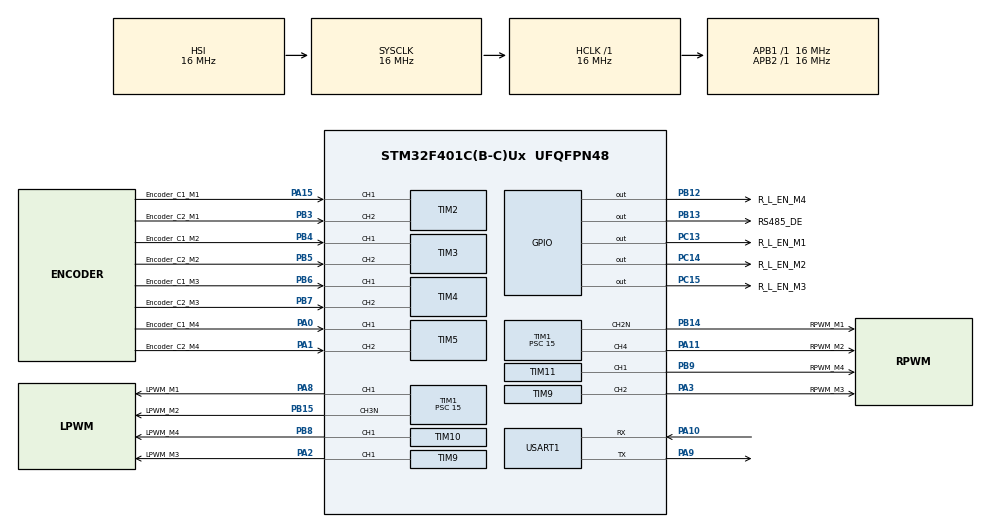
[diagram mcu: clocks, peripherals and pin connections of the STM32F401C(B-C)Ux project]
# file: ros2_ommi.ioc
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Mcu.Family=STM32F4
Mcu.Name=STM32F401C(B-C)Ux
Mcu.Package=UFQFPN48
NVIC.PriorityGroup=NVIC_PRIORITYGROUP_4
NVIC.USART1_IRQn=true\:0\:0\:false\:false\:true\:true\:true\:true
PA0-WKUP.GPIO_Label=Encoder_C1_M4
PA0-WKUP.Signal=S_TIM5_CH1
PA1.GPIO_Label=Encoder_C2_M4
PA1.Signal=S_TIM5_CH2
PA10.Mode=Asynchronous
PA10.Signal=USART1_RX
PA11.GPIO_Label=RPWM_M2
PA11.Signal=S_TIM1_CH4
PA13.Mode=Serial_Wire
PA13.Signal=SYS_JTMS-SWDIO
PA14.Mode=Serial_Wire
PA14.Signal=SYS_JTCK-SWCLK
PA15.GPIO_Label=Encoder_C1_M1
PA15.Signal=S_TIM2_CH1_ETR
PA2.GPIO_Label=LPWM_M3
PA2.Signal=S_TIM9_CH1
PA3.GPIO_Label=RPWM_M3
PA3.Signal=S_TIM9_CH2
PA8.GPIO_Label=LPWM_M1
PA8.Signal=S_TIM1_CH1
PA9.Mode=Asynchronous
PA9.Signal=USART1_TX
PB12.GPIO_Label=R_L_EN_M4
PB12.Signal=GPIO_Output
PB13.GPIO_Label=RS485_DE
PB13.Signal=GPIO_Output
PB14.GPIO_Label=RPWM_M1
PB14.Mode=PWM Generation2 CH2N
PB14.Signal=TIM1_CH2N
PB15.GPIO_Label=LPWM_M2
PB15.Mode=PWM Generation3 CH3N
PB15.Signal=TIM1_CH3N
PB3.GPIO_Label=Encoder_C2_M1
PB3.Signal=S_TIM2_CH2
PB4.GPIO_Label=Encoder_C1_M2
PB4.Signal=S_TIM3_CH1
PB5.GPIO_Label=Encoder_C2_M2
PB5.Signal=S_TIM3_CH2
PB6.GPIO_Label=Encoder_C1_M3
PB6.Signal=S_TIM4_CH1
PB7.GPIO_Label=Encoder_C2_M3
PB7.Signal=S_TIM4_CH2
PB8.GPIO_Label=LPWM_M4
PB8.Signal=S_TIM10_CH1
PB9.GPIO_Label=RPWM_M4
PB9.Signal=S_TIM11_CH1
PC13-ANTI_TAMP.GPIO_Label=R_L_EN_M1
PC13-ANTI_TAMP.Signal=GPIO_Output
PC14-OSC32_IN.GPIO_Label=R_L_EN_M2
PC14-OSC32_IN.Signal=GPIO_Output
PC15-OSC32_OUT.GPIO_Label=R_L_EN_M3
PC15-OSC32_OUT.Signal=GPIO_Output
PH0\ -\ OSC_IN.Mode=HSE-External-Oscillator
PH0\ -\ OSC_IN.Signal=RCC_OSC_IN
PH1\ -\ OSC_OUT.Mode=HSE-External-Oscillator
PH1\ -\ OSC_OUT.Signal=RCC_OSC_OUT
ProjectManager.HeapSize=0x200
ProjectManager.StackSize=0x400
ProjectManager.TargetToolchain=STM32CubeIDE
RCC.AHBFreq_Value=16000000
RCC.APB1Freq_Value=16000000
RCC.APB2Freq_Value=16000000
RCC.CortexFreq_Value=16000000
RCC.HSE_VALUE=25000000
RCC.HSI_VALUE=16000000
RCC.LSE_VALUE=32768
RCC.SYSCLKFreq_VALUE=16000000
RCC.VCOOutputFreq_Value=192000000
SH.S_TIM10_CH1.0=TIM10_CH1,PWM Generation1 CH1
SH.S_TIM11_CH1.0=TIM11_CH1,PWM Generation1 CH1
SH.S_TIM1_CH1.0=TIM1_CH1,PWM Generation1 CH1
SH.S_TIM1_CH4.0=TIM1_CH4,PWM Generation4 CH4
SH.S_TIM2_CH1_ETR.0=TIM2_CH1,Encoder_Interface
SH.S_TIM2_CH2.0=TIM2_CH2,Encoder_Interface
SH.S_TIM3_CH1.0=TIM3_CH1,Encoder_Interface
SH.S_TIM3_CH2.0=TIM3_CH2,Encoder_Interface
SH.S_TIM4_CH1.0=TIM4_CH1,Encoder_Interface
SH.S_TIM4_CH2.0=TIM4_CH2,Encoder_Interface
SH.S_TIM5_CH1.0=TIM5_CH1,Encoder_Interface
SH.S_TIM5_CH2.0=TIM5_CH2,Encoder_Interface
SH.S_TIM9_CH1.0=TIM9_CH1,PWM Generation1 CH1
SH.S_TIM9_CH2.0=TIM9_CH2,PWM Generation2 CH2
TIM1.Channel-PWM\ Generation1\ CH1=TIM_CHANNEL_1
TIM1.Channel-PWM\ Generation2\ CH2N=TIM_CHANNEL_2
TIM1.Channel-PWM\ Generation3\ CH3N=TIM_CHANNEL_3
TIM1.Channel-PWM\ Generation4\ CH4=TIM_CHANNEL_4
TIM1.Period=999
TIM1.Prescaler=15
TIM10.Channel=TIM_CHANNEL_1
TIM10.ClockDivision=TIM_CLOCKDIVISION_DIV1
TIM10.Period=999
TIM10.Prescaler=15
TIM11.Channel=TIM_CHANNEL_1
TIM11.ClockDivision=TIM_CLOCKDIVISION_DIV1
TIM11.Period=999
TIM11.Prescaler=15
TIM2.EncoderMode=TIM_ENCODERMODE_TI12
TIM3.EncoderMode=TIM_ENCODERMODE_TI12
TIM4.EncoderMode=TIM_ENCODERMODE_TI12
TIM5.EncoderMode=TIM_ENCODERMODE_TI12
TIM9.Channel-PWM\ Generation1\ CH1=TIM_CHANNEL_1
TIM9.Channel-PWM\ Generation2\ CH2=TIM_CHANNEL_2
TIM9.ClockDivision=TIM_CLOCKDIVISION_DIV1
TIM9.Period=999
TIM9.Prescaler=15
USART1.VirtualMode=VM_ASYNC
VP_TIM10_VS_ClockSourceINT.Mode=Enable_Timer
VP_TIM11_VS_ClockSourceINT.Mode=Enable_Timer
VP_TIM1_VS_ClockSourceINT.Mode=Internal
board=custom

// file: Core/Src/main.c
/* USER CODE BEGIN Header */
/**
  ******************************************************************************
  * @file           : main.c
  * @brief          : Smooth PID Speed Control 4 Motors
  *                   STM32F401CCU6 + BTS7960 + Encoder
  *                   Individual wheel target speed
  ******************************************************************************
  */
/* USER CODE END Header */
#include "main.h"
#include "tim.h"
#include "usart.h"
#include "gpio.h"

/* USER CODE BEGIN Includes */
#include <stdint.h>
#include <string.h>
#include <stdlib.h>

/* USER CODE END Includes */

/* USER CODE BEGIN PTD */

typedef struct
{
  float kp;
  float ki;
  float kd;

  float integral;
  float prev_error;
  float output;

} PID_t;

typedef struct
{
  const char *name;

  TIM_HandleTypeDef *lpwm_htim;
  uint32_t lpwm_channel;

  TIM_HandleTypeDef *rpwm_htim;
  uint32_t rpwm_channel;

  GPIO_TypeDef *en_port;
  uint16_t en_pin;

  TIM_HandleTypeDef *encoder_htim;

  int motor_sign;
  int encoder_sign;

  int current_pwm;
  int min_pwm_run;

  uint32_t encoder_last_count;
  int32_t encoder_delta;
  int64_t encoder_total_count;

  float speed_mps;
  float speed_raw_mps;
  float target_speed_mps;
  float command_speed_mps;

  PID_t pid;

} Motor_t;

/* USER CODE END PTD */

/* USER CODE BEGIN PD */

#define MOTOR_COUNT                 4

#define MOTOR_NORMAL                1
#define MOTOR_INVERT               -1

#define ENCODER_NORMAL              1
#define ENCODER_INVERT             -1

#define PWM_MAX_VALUE               999

/*
  PWM tối thiểu để thắng ma sát tĩnh.
  Nếu motor vẫn bị ì, tăng lên 220 hoặc 250.
*/
#define PWM_MIN_RUN_DEFAULT         60
#define PWM_MIN_RUN_M2              60

#define CONTROL_PERIOD_MS           10
#define CONTROL_PERIOD_S            ((float)CONTROL_PERIOD_MS / 1000.0f)

/*
  Ramp tốc độ.
  Giá trị càng nhỏ motor càng mượt nhưng tăng tốc chậm.
  1.5 m/s^2 nghĩa là từ 0 lên 0.5 m/s mất khoảng 0.33s.
*/
#define TARGET_ACCEL_LIMIT_MPS2     1.5f

#define TARGET_ACCEL_LIMIT_MPS2     0.4f
#define TARGET_RAMP_STEP_MPS \
  (TARGET_ACCEL_LIMIT_MPS2 * CONTROL_PERIOD_S)

/*
  Lọc tốc độ encoder.
  0.25 - 0.40 là vùng ổn.
  Nhỏ hơn = mượt hơn nhưng phản hồi chậm hơn.
*/
#define SPEED_FILTER_ALPHA          0.30f

/*
  Thông số bánh + encoder.
  Nếu motor của bạn là hộp số 1:90 thì đổi GEAR_RATIO thành 90.0f.
*/
#define WHEEL_DIAMETER_M            0.097f
#define PI_VALUE                    3.1415926f
#define WHEEL_CIRCUMFERENCE_M       (PI_VALUE * WHEEL_DIAMETER_M)

#define ENCODER_PPR                 11.0f
#define GEAR_RATIO                  30.0f
#define ENCODER_MULTIPLIER          4.0f

#define ENCODER_COUNT_PER_REV       (ENCODER_PPR * GEAR_RATIO * ENCODER_MULTIPLIER)
#define METER_PER_COUNT             (WHEEL_CIRCUMFERENCE_M / ENCODER_COUNT_PER_REV)

/*
  PID bản mượt hơn.
  Bản cũ 120/60 dễ làm motor giật hoặc dao động.
*/
#define PID_KP                      50.0f
#define PID_KI                      10.0f
#define PID_KD                      0.0f

#define PID_INTEGRAL_LIMIT          2.0f
#define PID_OUTPUT_LIMIT            250.0f
/*
  Feedforward.
  Nếu motor lên tốc độ quá chậm, tăng PWM_PER_MPS lên 360.
  Nếu motor quá mạnh/giật, giảm xuống 300.
*/
#define PWM_PER_MPS                 330.0f

#define TARGET_DEADBAND_MPS         0.02f
#define TARGET_SPEED_LIMIT_MPS      2.0f

#define UART_HEADER_1               0xAA
#define UART_HEADER_2               0x55
#define UART_FRAME_SIZE             11   //kích thước frame

#define UART_HEADER_1                  0xAA
#define UART_HEADER_2                  0x55
#define UART_FRAME_SIZE                11

#define UART_FEEDBACK_HEADER_1         0xAB
#define UART_FEEDBACK_HEADER_2         0xCD
#define UART_FEEDBACK_FRAME_SIZE       11
#define UART_TX_TIMEOUT_MS             5

#define UART_WATCHDOG_TIMEOUT_MS       500
volatile uint8_t uart_feedback_pending = 0;

volatile int debug_uart_tx_ok = 0;
volatile int debug_uart_tx_fail = 0;
/*
  ROS2 gửi frame mỗi 20 ms.
  Nếu mất lệnh quá 500 ms thì dừng motor.
*/
#define UART_WATCHDOG_TIMEOUT_MS    500

/* USER CODE END PD */

/* USER CODE BEGIN PV */

/*
  Mapping motor hiện tại:

  Motor 1 = Front Left = bánh trước trái
    LPWM    PA8  -> TIM1_CH1
    RPWM    PB14 -> TIM1_CH2N
    EN      PC13
    Encoder TIM2

  Motor 2 = Front Right = bánh trước phải
    LPWM    PB15 -> TIM1_CH3N
    RPWM    PA11 -> TIM1_CH4
    EN      PC14
    Encoder TIM3

  Motor 3 = Rear Left = bánh sau trái
    LPWM    PA2 -> TIM9_CH1
    RPWM    PA3 -> TIM9_CH2
    EN      PC15
    Encoder TIM4

  Motor 4 = Rear Right = bánh sau phải
    LPWM    PB8 -> TIM10_CH1
    RPWM    PB9 -> TIM11_CH1
    EN      PB12
    Encoder TIM5

  USART1:
    TX = PA9
    RX = PA10

  RS485:
    DE/RE = PB13
*/

/* ===== DEBUG VARIABLES - thêm vào Live Expressions ===== */

volatile int debug_pwm_m1 = 0;
volatile int debug_pwm_m2 = 0;
volatile int debug_pwm_m3 = 0;
volatile int debug_pwm_m4 = 0;

volatile int32_t debug_delta_m1 = 0;
volatile int32_t debug_delta_m2 = 0;
volatile int32_t debug_delta_m3 = 0;
volatile int32_t debug_delta_m4 = 0;

volatile int64_t debug_total_m1 = 0;
volatile int64_t debug_total_m2 = 0;
volatile int64_t debug_total_m3 = 0;
volatile int64_t debug_total_m4 = 0;

volatile float debug_speed_m1 = 0.0f;
volatile float debug_speed_m2 = 0.0f;
volatile float debug_speed_m3 = 0.0f;
volatile float debug_speed_m4 = 0.0f;

volatile float debug_raw_speed_m1 = 0.0f;
volatile float debug_raw_speed_m2 = 0.0f;
volatile float debug_raw_speed_m3 = 0.0f;
volatile float debug_raw_speed_m4 = 0.0f;

volatile float debug_target_m1 = 0.0f;
volatile float debug_target_m2 = 0.0f;
volatile float debug_target_m3 = 0.0f;
volatile float debug_target_m4 = 0.0f;

volatile float debug_cmd_m1 = 0.0f;
volatile float debug_cmd_m2 = 0.0f;
volatile float debug_cmd_m3 = 0.0f;
volatile float debug_cmd_m4 = 0.0f;

volatile float debug_error_m1 = 0.0f;
volatile float debug_error_m2 = 0.0f;
volatile float debug_error_m3 = 0.0f;
volatile float debug_error_m4 = 0.0f;

volatile float debug_pid_m1 = 0.0f;
volatile float debug_pid_m2 = 0.0f;
volatile float debug_pid_m3 = 0.0f;
volatile float debug_pid_m4 = 0.0f;

volatile int debug_test_state = 0;

/* ===== MOTOR OBJECTS ===== */

Motor_t motors[MOTOR_COUNT] =
{
  {
    "M1_FRONT_LEFT",
    &htim1, TIM_CHANNEL_1,
    &htim1, TIM_CHANNEL_2,
    GPIOC, GPIO_PIN_13,
    &htim2,
    MOTOR_NORMAL,
	ENCODER_NORMAL,
    0,
    PWM_MIN_RUN_DEFAULT,
    0, 0, 0,
    0.0f,
    0.0f,
    0.0f,
    0.0f,
    {PID_KP, PID_KI, PID_KD, 0.0f, 0.0f, 0.0f}
  },

  {
    "M2_FRONT_RIGHT",
    &htim1, TIM_CHANNEL_3,
    &htim1, TIM_CHANNEL_4,
    GPIOC, GPIO_PIN_14,
    &htim3,
	MOTOR_INVERT,
	ENCODER_INVERT,
    0,
    PWM_MIN_RUN_M2,
    0, 0, 0,
    0.0f,
    0.0f,
    0.0f,
    0.0f,
    {PID_KP, PID_KI, PID_KD, 0.0f, 0.0f, 0.0f}
  },

  {
    "M3_REAR_LEFT",
    &htim9, TIM_CHANNEL_1,
    &htim9, TIM_CHANNEL_2,
    GPIOC, GPIO_PIN_15,
    &htim4,
	MOTOR_NORMAL,
	ENCODER_NORMAL,
    0,
    PWM_MIN_RUN_DEFAULT,
    0, 0, 0,
    0.0f,
    0.0f,
    0.0f,
    0.0f,
    {PID_KP, PID_KI, PID_KD, 0.0f, 0.0f, 0.0f}
  },

  {
    "M4_REAR_RIGHT",
    &htim10, TIM_CHANNEL_1,
    &htim11, TIM_CHANNEL_1,
    GPIOB, GPIO_PIN_12,
    &htim5,
	MOTOR_INVERT,
	ENCODER_INVERT,
    0,
    PWM_MIN_RUN_DEFAULT,
    0, 0, 0,
    0.0f,
    0.0f,
    0.0f,
    0.0f,
    {PID_KP, PID_KI, PID_KD, 0.0f, 0.0f, 0.0f}
  }
};

uint32_t last_control_time = 0;
uint32_t last_motion_time = 0;
uint8_t motion_state = 0;
/* ===== UART / RS485 AUTO-DIRECTION MODULE ===== */

/* ===== UART BINARY FRAME ===== */

uint8_t uart_rx_byte = 0;

uint8_t uart_rx_frame[UART_FRAME_SIZE];
volatile uint8_t uart_rx_index = 0;
volatile uint8_t uart_frame_ready = 0;

volatile uint32_t last_uart_cmd_time = 0;

volatile float uart_target_m1 = 0.0f;
volatile float uart_target_m2 = 0.0f;
volatile float uart_target_m3 = 0.0f;
volatile float uart_target_m4 = 0.0f;

volatile int debug_uart_rx_count = 0;
volatile int debug_uart_parse_ok = 0;
volatile int debug_uart_parse_fail = 0;
volatile int debug_uart_crc_fail = 0;
volatile int debug_uart_error_count = 0;
volatile int debug_uart_watchdog = 0;

/* USER CODE END PV */

void SystemClock_Config(void);
/* USER CODE BEGIN PFP */

/* Helper */
static float ClampFloat(float value, float min_value, float max_value);
static int ClampInt(int value, int min_value, int max_value);
static float RampFloat(float current, float target, float step);

/* Motor PWM */
void Motor_Enable(Motor_t *motor);
void Motor_Disable(Motor_t *motor);
static void Motor_PWM_ChannelStart(TIM_HandleTypeDef *htim, uint32_t channel);
void Motor_PWM_Start(Motor_t *motor);
void Motor_SetPWM(Motor_t *motor, int pwm);
void Motor_Stop(Motor_t *motor);

void Motors_PWM_InitAll(void);
void Motors_StopAll(void);

/* Encoder */
void Encoder_Reset(Motor_t *motor);
void Encoders_InitAll(void);
int32_t Encoder_ReadDelta(Motor_t *motor);
float Encoder_DeltaToMPS(int32_t delta);
void Encoders_UpdateAll(void);

/* PID */
void PID_Reset(PID_t *pid);
float PID_Update(PID_t *pid, float target, float feedback, float dt);
void Motor_SetTargetSpeed(Motor_t *motor, float target_speed_mps);
void Motors_SetTargetSpeedAll(float target_speed_mps);
void Motors_SetTargetSpeeds(float m1, float m2, float m3, float m4);
void Motors_ControlUpdateAll(void);

/* Debug */
void Debug_UpdateVariables(void);

/* Motion test */
void Motion_Speed_TestTask(void);

/* App */
void App_Init(void);
void App_Task(void);

/* UART / RS485 */
void UART_StartReceive_IT(void);
void UART_ProcessCommand(void);
void UART_WatchdogTask(void);

static uint8_t UART_CalculateCRC(
  const uint8_t *data,
  uint8_t length
);
/* USER CODE END PFP */

/* USER CODE BEGIN 0 */

static float ClampFloat(float value, float min_value, float max_value)
{
  if (value > max_value)
  {
    return max_value;
  }

  if (value < min_value)
  {
    return min_value;
  }

  return value;
}

static int ClampInt(int value, int min_value, int max_value)
{
  if (value > max_value)
  {
    return max_value;
  }

  if (value < min_value)
  {
    return min_value;
  }

  return value;
}

static float RampFloat(float current, float target, float step)
{
  if (current < target)
  {
    current += step;

    if (current > target)
    {
      current = target;
    }
  }
  else if (current > target)
  {
    current -= step;

    if (current < target)
    {
      current = target;
    }
  }

  return current;
}

/* =========================
   MOTOR PWM FUNCTIONS
   ========================= */

void Motor_Enable(Motor_t *motor)
{
  HAL_GPIO_WritePin(motor->en_port, motor->en_pin, GPIO_PIN_SET);
}

void Motor_Disable(Motor_t *motor)
{
  HAL_GPIO_WritePin(motor->en_port, motor->en_pin, GPIO_PIN_RESET);
}

static void Motor_PWM_ChannelStart(TIM_HandleTypeDef *htim, uint32_t channel)
{
  /*
    PB14 = TIM1_CH2N
    PB15 = TIM1_CH3N

    Hai kênh N của TIM1 phải start bằng HAL_TIMEx_PWMN_Start().
  */
  if (htim->Instance == TIM1 &&
      (channel == TIM_CHANNEL_2 || channel == TIM_CHANNEL_3))
  {
    HAL_TIMEx_PWMN_Start(htim, channel);
  }
  else
  {
    HAL_TIM_PWM_Start(htim, channel);
  }
}

void Motor_PWM_Start(Motor_t *motor)
{
  Motor_PWM_ChannelStart(motor->lpwm_htim, motor->lpwm_channel);
  Motor_PWM_ChannelStart(motor->rpwm_htim, motor->rpwm_channel);

  Motor_Enable(motor);
  Motor_Stop(motor);
}

void Motor_SetPWM(Motor_t *motor, int pwm)
{
  uint32_t lpwm_max = __HAL_TIM_GET_AUTORELOAD(motor->lpwm_htim);
  uint32_t rpwm_max = __HAL_TIM_GET_AUTORELOAD(motor->rpwm_htim);

  uint32_t pwm_max = lpwm_max;

  if (rpwm_max < pwm_max)
  {
    pwm_max = rpwm_max;
  }

  if (pwm_max > PWM_MAX_VALUE)
  {
    pwm_max = PWM_MAX_VALUE;
  }

  pwm = pwm * motor->motor_sign;
  pwm = ClampInt(pwm, -(int)pwm_max, (int)pwm_max);

  Motor_Enable(motor);

  motor->current_pwm = pwm;

  if (pwm > 0)
  {
    __HAL_TIM_SET_COMPARE(motor->lpwm_htim, motor->lpwm_channel, (uint32_t)pwm);
    __HAL_TIM_SET_COMPARE(motor->rpwm_htim, motor->rpwm_channel, 0);
  }
  else if (pwm < 0)
  {
    __HAL_TIM_SET_COMPARE(motor->lpwm_htim, motor->lpwm_channel, 0);
    __HAL_TIM_SET_COMPARE(motor->rpwm_htim, motor->rpwm_channel, (uint32_t)(-pwm));
  }
  else
  {
    __HAL_TIM_SET_COMPARE(motor->lpwm_htim, motor->lpwm_channel, 0);
    __HAL_TIM_SET_COMPARE(motor->rpwm_htim, motor->rpwm_channel, 0);
    motor->current_pwm = 0;
  }
}

void Motor_Stop(Motor_t *motor)
{
  __HAL_TIM_SET_COMPARE(motor->lpwm_htim, motor->lpwm_channel, 0);
  __HAL_TIM_SET_COMPARE(motor->rpwm_htim, motor->rpwm_channel, 0);

  motor->current_pwm = 0;

  /*
    Stop thả trôi:
    LPWM = 0, RPWM = 0, EN = 0.
  */
  Motor_Disable(motor);
}

void Motors_PWM_InitAll(void)
{
  for (int i = 0; i < MOTOR_COUNT; i++)
  {
    Motor_PWM_Start(&motors[i]);
  }

  Motors_StopAll();
}

void Motors_StopAll(void)
{
  Motors_SetTargetSpeedAll(0.0f);

  for (int i = 0; i < MOTOR_COUNT; i++)
  {
    motors[i].command_speed_mps = 0.0f;
    PID_Reset(&motors[i].pid);
    Motor_Stop(&motors[i]);
  }
}

/* =========================
   ENCODER FUNCTIONS
   ========================= */

void Encoder_Reset(Motor_t *motor)
{
  __HAL_TIM_SET_COUNTER(motor->encoder_htim, 0);

  motor->encoder_last_count = 0;
  motor->encoder_delta = 0;
  motor->encoder_total_count = 0;
  motor->speed_raw_mps = 0.0f;
  motor->speed_mps = 0.0f;
}

void Encoders_InitAll(void)
{
  for (int i = 0; i < MOTOR_COUNT; i++)
  {
    HAL_TIM_Encoder_Start(motors[i].encoder_htim, TIM_CHANNEL_ALL);
    Encoder_Reset(&motors[i]);
  }
}

int32_t Encoder_ReadDelta(Motor_t *motor)
{
  uint32_t now_count = __HAL_TIM_GET_COUNTER(motor->encoder_htim);
  uint32_t arr = __HAL_TIM_GET_AUTORELOAD(motor->encoder_htim);

  int64_t delta = (int64_t)now_count - (int64_t)motor->encoder_last_count;
  uint64_t period = (uint64_t)arr + 1ULL;

  if (delta > (int64_t)(period / 2ULL))
  {
    delta -= (int64_t)period;
  }
  else if (delta < -(int64_t)(period / 2ULL))
  {
    delta += (int64_t)period;
  }

  delta = delta * motor->encoder_sign;

  motor->encoder_last_count = now_count;
  motor->encoder_delta = (int32_t)delta;
  motor->encoder_total_count += delta;

  return motor->encoder_delta;
}

float Encoder_DeltaToMPS(int32_t delta)
{
  float distance_m = (float)delta * METER_PER_COUNT;
  float speed_mps = distance_m / CONTROL_PERIOD_S;

  return speed_mps;
}

void Encoders_UpdateAll(void)
{
  for (int i = 0; i < MOTOR_COUNT; i++)
  {
    int32_t delta = Encoder_ReadDelta(&motors[i]);

    motors[i].speed_raw_mps = Encoder_DeltaToMPS(delta);

    /*
      Low-pass filter:
      speed_mps = speed_mps cũ + alpha * sai lệch
    */
    motors[i].speed_mps = motors[i].speed_mps +
                          SPEED_FILTER_ALPHA *
                          (motors[i].speed_raw_mps - motors[i].speed_mps);
  }
}

/*
  Binary frame 11 bytes:

  [0xAA][0x55]
  [v1_L][v1_H]
  [v2_L][v2_H]
  [v3_L][v3_H]
  [v4_L][v4_H]
  [CRC]

  v1...v4:
  int16_t, đơn vị mm/s, little-endian

  CRC:
  XOR byte 0 đến byte 9
*/

/* =========================
   PID FUNCTIONS
   ========================= */

void PID_Reset(PID_t *pid)
{
  pid->integral = 0.0f;
  pid->prev_error = 0.0f;
  pid->output = 0.0f;
}

float PID_Update(PID_t *pid, float target, float feedback, float dt)
{
  float error = target - feedback;

  pid->integral += error * dt;
  pid->integral = ClampFloat(pid->integral, -PID_INTEGRAL_LIMIT, PID_INTEGRAL_LIMIT);

  float derivative = (error - pid->prev_error) / dt;

  pid->output = (pid->kp * error)
              + (pid->ki * pid->integral)
              + (pid->kd * derivative);

  pid->output = ClampFloat(pid->output, -PID_OUTPUT_LIMIT, PID_OUTPUT_LIMIT);

  pid->prev_error = error;

  return pid->output;
}

void Motor_SetTargetSpeed(Motor_t *motor, float target_speed_mps)
{
  target_speed_mps = ClampFloat(target_speed_mps,
                                -TARGET_SPEED_LIMIT_MPS,
                                TARGET_SPEED_LIMIT_MPS);

  /*
    Khi đổi chiều lớn thì reset PID để tránh tích phân cũ kéo ngược.
  */
  if ((motor->target_speed_mps > TARGET_DEADBAND_MPS &&
       target_speed_mps < -TARGET_DEADBAND_MPS) ||
      (motor->target_speed_mps < -TARGET_DEADBAND_MPS &&
       target_speed_mps > TARGET_DEADBAND_MPS))
  {
    PID_Reset(&motor->pid);
  }

  motor->target_speed_mps = target_speed_mps;
}

void Motors_SetTargetSpeedAll(float target_speed_mps)
{
  for (int i = 0; i < MOTOR_COUNT; i++)
  {
    Motor_SetTargetSpeed(&motors[i], target_speed_mps);
  }
}

void Motors_SetTargetSpeeds(float m1, float m2, float m3, float m4)
{
  Motor_SetTargetSpeed(&motors[0], m1);
  Motor_SetTargetSpeed(&motors[1], m2);
  Motor_SetTargetSpeed(&motors[2], m3);
  Motor_SetTargetSpeed(&motors[3], m4);

  debug_target_m1 = motors[0].target_speed_mps;
  debug_target_m2 = motors[1].target_speed_mps;
  debug_target_m3 = motors[2].target_speed_mps;
  debug_target_m4 = motors[3].target_speed_mps;
}

void Motors_ControlUpdateAll(void)
{
  Encoders_UpdateAll();

  for (int i = 0; i < MOTOR_COUNT; i++)
  {
    Motor_t *motor = &motors[i];

    /*
      Ramp command_speed_mps về target_speed_mps.
      PID sẽ bám command_speed_mps, không bám target nhảy đột ngột.
    */
    motor->command_speed_mps = RampFloat(motor->command_speed_mps,
                                         motor->target_speed_mps,
                                         TARGET_RAMP_STEP_MPS);

    if (motor->target_speed_mps < TARGET_DEADBAND_MPS &&
        motor->target_speed_mps > -TARGET_DEADBAND_MPS &&
        motor->command_speed_mps < TARGET_DEADBAND_MPS &&
        motor->command_speed_mps > -TARGET_DEADBAND_MPS)
    {
      motor->command_speed_mps = 0.0f;
      PID_Reset(&motor->pid);
      Motor_Stop(motor);
      continue;
    }

    float pid_output = PID_Update(&motor->pid,
                                  motor->command_speed_mps,
                                  motor->speed_mps,
                                  CONTROL_PERIOD_S);

    float pwm_float = (motor->command_speed_mps * PWM_PER_MPS) + pid_output;

    int pwm_cmd = (int)pwm_float;

    /*
      Bù ma sát tĩnh theo từng motor.
      Motor 2 đang bị delay nên min_pwm_run của M2 cao hơn.
    */
    if (motor->command_speed_mps > TARGET_DEADBAND_MPS)
    {
      if (pwm_cmd > 0 && pwm_cmd < motor->min_pwm_run)
      {
        pwm_cmd = motor->min_pwm_run;
      }
    }
    else if (motor->command_speed_mps < -TARGET_DEADBAND_MPS)
    {
      if (pwm_cmd < 0 && pwm_cmd > -motor->min_pwm_run)
      {
        pwm_cmd = -motor->min_pwm_run;
      }
    }

    pwm_cmd = ClampInt(pwm_cmd, -PWM_MAX_VALUE, PWM_MAX_VALUE);

    Motor_SetPWM(motor, pwm_cmd);
  }
}

/* =========================
   DEBUG FUNCTION
   ========================= */

void Debug_UpdateVariables(void)
{
  debug_pwm_m1 = motors[0].current_pwm;
  debug_pwm_m2 = motors[1].current_pwm;
  debug_pwm_m3 = motors[2].current_pwm;
  debug_pwm_m4 = motors[3].current_pwm;

  debug_delta_m1 = motors[0].encoder_delta;
  debug_delta_m2 = motors[1].encoder_delta;
  debug_delta_m3 = motors[2].encoder_delta;
  debug_delta_m4 = motors[3].encoder_delta;

  debug_total_m1 = motors[0].encoder_total_count;
  debug_total_m2 = motors[1].encoder_total_count;
  debug_total_m3 = motors[2].encoder_total_count;
  debug_total_m4 = motors[3].encoder_total_count;

  debug_raw_speed_m1 = motors[0].speed_raw_mps;
  debug_raw_speed_m2 = motors[1].speed_raw_mps;
  debug_raw_speed_m3 = motors[2].speed_raw_mps;
  debug_raw_speed_m4 = motors[3].speed_raw_mps;

  debug_speed_m1 = motors[0].speed_mps;
  debug_speed_m2 = motors[1].speed_mps;
  debug_speed_m3 = motors[2].speed_mps;
  debug_speed_m4 = motors[3].speed_mps;

  debug_target_m1 = motors[0].target_speed_mps;
  debug_target_m2 = motors[1].target_speed_mps;
  debug_target_m3 = motors[2].target_speed_mps;
  debug_target_m4 = motors[3].target_speed_mps;

  debug_cmd_m1 = motors[0].command_speed_mps;
  debug_cmd_m2 = motors[1].command_speed_mps;
  debug_cmd_m3 = motors[2].command_speed_mps;
  debug_cmd_m4 = motors[3].command_speed_mps;

  debug_error_m1 = motors[0].command_speed_mps - motors[0].speed_mps;
  debug_error_m2 = motors[1].command_speed_mps - motors[1].speed_mps;
  debug_error_m3 = motors[2].command_speed_mps - motors[2].speed_mps;
  debug_error_m4 = motors[3].command_speed_mps - motors[3].speed_mps;

  debug_pid_m1 = motors[0].pid.output;
  debug_pid_m2 = motors[1].pid.output;
  debug_pid_m3 = motors[2].pid.output;
  debug_pid_m4 = motors[3].pid.output;
}

/* =========================
   MOTION SPEED TEST TASK
   ========================= */

void Motion_Speed_TestTask(void)
{
  uint32_t now = HAL_GetTick();

  switch (motion_state)
  {
    case 0:
      debug_test_state = 1;
      Motors_SetTargetSpeeds(0.5f, 0.5f, 0.5f, 0.5f);

      if (now - last_motion_time >= 5000)
      {
        last_motion_time = now;
        motion_state = 1;
      }
      break;

    case 1:
      debug_test_state = 2;
      Motors_SetTargetSpeeds(-0.5f, -0.5f, -0.5f, -0.5f);

      if (now - last_motion_time >= 5000)
      {
        last_motion_time = now;
        motion_state = 2;
      }
      break;

    case 2:
      debug_test_state = 3;
      Motors_SetTargetSpeeds(0.5f, -0.5f, -0.5f, 0.5f);

      if (now - last_motion_time >= 5000)
      {
        last_motion_time = now;
        motion_state = 3;
      }
      break;

    case 3:
      debug_test_state = 4;
      Motors_SetTargetSpeeds(-0.5f, 0.5f, 0.5f, -0.5f);

      if (now - last_motion_time >= 5000)
      {
        last_motion_time = now;
        motion_state = 4;
      }
      break;

    case 4:
      debug_test_state = 5;
      Motors_SetTargetSpeeds(0.5f, -0.5f, 0.5f, -0.5f);

      if (now - last_motion_time >= 5000)
      {
        last_motion_time = now;
        motion_state = 5;
      }
      break;

    case 5:
      debug_test_state = 6;
      Motors_SetTargetSpeeds(0.0f, 0.0f, 0.0f, 0.0f);

      if (now - last_motion_time >= 3000)
      {
        last_motion_time = now;
        motion_state = 0;
      }
      break;

    default:
      motion_state = 0;
      last_motion_time = now;
      break;
  }
}

/*
  UART / RS485 binary frame 11 bytes:

  Byte 0:  0xAA
  Byte 1:  0x55

  Byte 2:  v1 low
  Byte 3:  v1 high

  Byte 4:  v2 low
  Byte 5:  v2 high

  Byte 6:  v3 low
  Byte 7:  v3 high

  Byte 8:  v4 low
  Byte 9:  v4 high

  Byte 10: CRC XOR byte 0 đến byte 9

  v1...v4:
  int16_t, đơn vị mm/s
*/

static uint8_t UART_CalculateCRC(
  const uint8_t *data,
  uint8_t length
)
{
  uint8_t crc = 0;

  for (uint8_t i = 0; i < length; i++)
  {
    crc ^= data[i];
  }

  return crc;
}

static int16_t UART_MpsToMmps(
  float speed_mps
)
{
  float scaled = speed_mps * 1000.0f;

  int32_t value;

  /*
    Làm tròn sang số nguyên gần nhất.
  */
  if (scaled >= 0.0f)
  {
    value = (int32_t)(scaled + 0.5f);
  }
  else
  {
    value = (int32_t)(scaled - 0.5f);
  }

  /*
    Giới hạn theo int16_t.
  */
  if (value > 32767)
  {
    value = 32767;
  }
  else if (value < -32768)
  {
    value = -32768;
  }

  return (int16_t)value;
}

static void UART_PackInt16LE(
  uint8_t *destination,
  int16_t value
)
{
  uint16_t raw = (uint16_t)value;

  destination[0] =
    (uint8_t)(raw & 0x00FFU);

  destination[1] =
    (uint8_t)((raw >> 8U) & 0x00FFU);
}

void UART_SendFeedback(void)
{
  uint8_t frame[UART_FEEDBACK_FRAME_SIZE];

  /*
    Tốc độ encoder thực tế của bốn bánh.
  */
  int16_t speed1_mmps =
    UART_MpsToMmps(motors[0].speed_mps);

  int16_t speed2_mmps =
    UART_MpsToMmps(motors[1].speed_mps);

  int16_t speed3_mmps =
    UART_MpsToMmps(motors[2].speed_mps);

  int16_t speed4_mmps =
    UART_MpsToMmps(motors[3].speed_mps);

  frame[0] = UART_FEEDBACK_HEADER_1;
  frame[1] = UART_FEEDBACK_HEADER_2;

  UART_PackInt16LE(
    &frame[2],
    speed1_mmps
  );

  UART_PackInt16LE(
    &frame[4],
    speed2_mmps
  );

  UART_PackInt16LE(
    &frame[6],
    speed3_mmps
  );

  UART_PackInt16LE(
    &frame[8],
    speed4_mmps
  );

  /*
    CRC XOR của 10 byte đầu.
  */
  frame[10] =
    UART_CalculateCRC(
      frame,
      10
    );

  /*
    Module RS485 của bạn là auto-direction,
    nên không cần bật/tắt chân DE ở đây.
  */
  HAL_StatusTypeDef status =
    HAL_UART_Transmit(
      &huart1,
      frame,
      UART_FEEDBACK_FRAME_SIZE,
      UART_TX_TIMEOUT_MS
    );

  if (status == HAL_OK)
  {
    debug_uart_tx_ok++;
  }
  else
  {
    debug_uart_tx_fail++;
  }
}

void UART_SendFeedback(void);

static int16_t UART_MpsToMmps(
  float speed_mps
);

static void UART_PackInt16LE(
  uint8_t *destination,
  int16_t value
);

void UART_StartReceive_IT(void)
{
  uart_rx_index = 0;
  uart_frame_ready = 0;

  if (HAL_UART_Receive_IT(
        &huart1,
        &uart_rx_byte,
        1
      ) != HAL_OK)
  {
    debug_uart_error_count++;
  }
}

/*
  Callback chạy mỗi khi USART1 nhận được 1 byte.
  Hàm tìm header AA 55 rồi thu đủ 11 byte.
*/
void HAL_UART_RxCpltCallback(
  UART_HandleTypeDef *huart
)
{
  if (huart->Instance == USART1)
  {
    debug_uart_rx_count++;

    /*
      Khi frame trước chưa được xử lý,
      không ghi đè lên buffer.
    */
    if (uart_frame_ready == 0)
    {
      switch (uart_rx_index)
      {
        case 0:
          /*
            Chờ byte đầu tiên 0xAA.
          */
          if (uart_rx_byte == UART_HEADER_1)
          {
            uart_rx_frame[0] = uart_rx_byte;
            uart_rx_index = 1;
          }
          break;

        case 1:
          /*
            Chờ byte thứ hai 0x55.
          */
          if (uart_rx_byte == UART_HEADER_2)
          {
            uart_rx_frame[1] = uart_rx_byte;
            uart_rx_index = 2;
          }
          else if (uart_rx_byte == UART_HEADER_1)
          {
            /*
              Trường hợp nhận AA AA 55:
              giữ AA mới làm header đầu.
            */
            uart_rx_frame[0] = UART_HEADER_1;
            uart_rx_index = 1;
          }
          else
          {
            uart_rx_index = 0;
          }
          break;

        default:
          /*
            Nhận v1, v2, v3, v4 và CRC.
          */
          uart_rx_frame[uart_rx_index] =
            uart_rx_byte;

          uart_rx_index++;

          if (uart_rx_index >= UART_FRAME_SIZE)
          {
            uart_rx_index = 0;
            uart_frame_ready = 1;
          }
          break;
      }
    }

    /*
      Luôn bật lại nhận interrupt byte tiếp theo.
    */
    if (HAL_UART_Receive_IT(
          &huart1,
          &uart_rx_byte,
          1
        ) != HAL_OK)
    {
      debug_uart_error_count++;
    }
  }
}

void HAL_UART_ErrorCallback(UART_HandleTypeDef *huart)
{
  if (huart->Instance == USART1)
  {
    debug_uart_error_count++;

    /*
      Xóa frame đang nhận dở.
    */
    uart_rx_index = 0;
    uart_frame_ready = 0;

    /*
      Dừng lần nhận UART hiện tại.
    */
    HAL_UART_AbortReceive(huart);

    /*
      Xóa cờ UART Overrun.
    */
    __HAL_UART_CLEAR_OREFLAG(huart);

    /*
      Bắt đầu nhận lại 1 byte.
    */
    if (HAL_UART_Receive_IT(
          &huart1,
          &uart_rx_byte,
          1
        ) != HAL_OK)
    {
      debug_uart_error_count++;
    }
  }
}
/*
  Xử lý frame trong vòng lặp chính,
  không chạy PID hay parse float trong interrupt.
*/
void UART_ProcessCommand(void)
{
  if (uart_frame_ready == 0)
  {
    return;
  }

  uint8_t frame[UART_FRAME_SIZE];

  /*
    Copy frame ra biến cục bộ để ISR không ghi đè.
  */
  __disable_irq();

  memcpy(
    frame,
    uart_rx_frame,
    UART_FRAME_SIZE
  );

  uart_frame_ready = 0;

  __enable_irq();

  /*
    Kiểm tra lại header.
  */
  if (frame[0] != UART_HEADER_1 ||
      frame[1] != UART_HEADER_2)
  {
    debug_uart_parse_fail++;
    return;
  }

  /*
    CRC nhận được nằm ở byte 6.
    CRC tính lại từ byte 0 đến byte 5.
  */
  uint8_t received_crc = frame[10];

  uint8_t calculated_crc =
    UART_CalculateCRC(frame, 10);

  if (received_crc != calculated_crc)
  {
    debug_uart_crc_fail++;
    debug_uart_parse_fail++;
    return;
  }

  /*
    Ghép hai byte little-endian thành int16_t.

    Ví dụ:
    +500 mm/s = 0x01F4
    Low byte  = 0xF4
    High byte = 0x01

    -500 mm/s = 0xFE0C
    Low byte  = 0x0C
    High byte = 0xFE
  */
  int16_t speed1_mmps =
    (int16_t)(
      (uint16_t)frame[2] |
      ((uint16_t)frame[3] << 8)
    );

  int16_t speed2_mmps =
    (int16_t)(
      (uint16_t)frame[4] |
      ((uint16_t)frame[5] << 8)
    );

  int16_t speed3_mmps =
    (int16_t)(
      (uint16_t)frame[6] |
      ((uint16_t)frame[7] << 8)
    );

  int16_t speed4_mmps =
    (int16_t)(
      (uint16_t)frame[8] |
      ((uint16_t)frame[9] << 8)
    );
  /*
    Đổi mm/s thành m/s.
  */
  float m1 = (float)speed1_mmps / 1000.0f;
  float m2 = (float)speed2_mmps / 1000.0f;
  float m3 = (float)speed3_mmps / 1000.0f;
  float m4 = (float)speed4_mmps / 1000.0f;

  uart_target_m1 = m1;
  uart_target_m2 = m2;
  uart_target_m3 = m3;
  uart_target_m4 = m4;

  /*
    Đưa tốc độ mục tiêu vào PID.
  */
  Motors_SetTargetSpeeds(
    m1,
    m2,
    m3,
    m4
  );

  /*
    Chỉ reset watchdog khi frame đúng header và CRC.
  */
  last_uart_cmd_time = HAL_GetTick();

  debug_uart_parse_ok++;
  debug_uart_watchdog = 0;
  /*
    Yêu cầu gửi lại tốc độ encoder về ROS2.
  */
  uart_feedback_pending = 1;
}

void UART_WatchdogTask(void)
{
  uint32_t now = HAL_GetTick();

  if ((now - last_uart_cmd_time) >
      UART_WATCHDOG_TIMEOUT_MS)
  {
    /*
      Chỉ thực hiện dừng một lần
      khi watchdog vừa kích hoạt.
    */
    if (debug_uart_watchdog == 0)
    {
      Motors_StopAll();

      uart_target_m1 = 0.0f;
      uart_target_m2 = 0.0f;
      uart_target_m3 = 0.0f;
      uart_target_m4 = 0.0f;
    }

    debug_uart_watchdog = 1;
  }
  else
  {
    debug_uart_watchdog = 0;
  }
}

/* =========================
   APP FUNCTIONS
   ========================= */

void App_Init(void)
{
  Motors_PWM_InitAll();
  Encoders_InitAll();

  for (int i = 0; i < MOTOR_COUNT; i++)
  {
    PID_Reset(&motors[i].pid);
    motors[i].target_speed_mps = 0.0f;
    motors[i].command_speed_mps = 0.0f;
  }

  last_control_time = HAL_GetTick();
  last_motion_time = HAL_GetTick();
  motion_state = 0;

  last_uart_cmd_time = HAL_GetTick();
  UART_StartReceive_IT();

  Debug_UpdateVariables();
}

void App_Task(void)
{
  uint32_t now = HAL_GetTick();

  /*
    Nhận và xử lý frame ROS2.
  */
  UART_ProcessCommand();

  /*
    Kiểm tra mất kết nối.
  */
  UART_WatchdogTask();

  /*
    Điều khiển motor và cập nhật tốc độ encoder.
  */
  if (now - last_control_time >= CONTROL_PERIOD_MS)
  {
    last_control_time = now;

    Motors_ControlUpdateAll();
    Debug_UpdateVariables();
  }

  /*
    Sau khi nhận được một frame lệnh hợp lệ,
    gửi tốc độ encoder mới nhất về ROS2.
  */
  if (uart_feedback_pending != 0)
  {
    uart_feedback_pending = 0;

    UART_SendFeedback();
  }
}

/* USER CODE END 0 */

int main(void)
{

  /* MCU Configuration--------------------------------------------------------*/

  /* Reset of all peripherals, Initializes the Flash interface and the Systick. */
  HAL_Init();

  /* Configure the system clock */
  SystemClock_Config();

  /* Initialize all configured peripherals */
  MX_GPIO_Init();
  MX_TIM1_Init();
  MX_TIM2_Init();
  MX_TIM3_Init();
  MX_TIM4_Init();
  MX_TIM5_Init();
  MX_TIM9_Init();
  MX_TIM10_Init();
  MX_TIM11_Init();
  MX_USART1_UART_Init();
  /* USER CODE BEGIN 2 */

  App_Init();

  /* USER CODE END 2 */

  /* Infinite loop */
  while (1)
  {

    /* USER CODE BEGIN 3 */

    App_Task();
  }

  /* USER CODE END 3 */
}

void SystemClock_Config(void)
{
  RCC_OscInitTypeDef RCC_OscInitStruct = {0};
  RCC_ClkInitTypeDef RCC_ClkInitStruct = {0};

  /** Configure the main internal regulator output voltage
  */
  __HAL_RCC_PWR_CLK_ENABLE();
  __HAL_PWR_VOLTAGESCALING_CONFIG(PWR_REGULATOR_VOLTAGE_SCALE2);

  /** Initializes the RCC Oscillators according to the specified parameters
  * in the RCC_OscInitTypeDef structure.
  */
  RCC_OscInitStruct.OscillatorType = RCC_OSCILLATORTYPE_HSI;
  RCC_OscInitStruct.HSIState = RCC_HSI_ON;
  RCC_OscInitStruct.HSICalibrationValue = RCC_HSICALIBRATION_DEFAULT;
  RCC_OscInitStruct.PLL.PLLState = RCC_PLL_NONE;
  if (HAL_RCC_OscConfig(&RCC_OscInitStruct) != HAL_OK)
  {
    Error_Handler();
  }

  /** Initializes the CPU, AHB and APB buses clocks
  */
  RCC_ClkInitStruct.ClockType = RCC_CLOCKTYPE_HCLK|RCC_CLOCKTYPE_SYSCLK
                              |RCC_CLOCKTYPE_PCLK1|RCC_CLOCKTYPE_PCLK2;
  RCC_ClkInitStruct.SYSCLKSource = RCC_SYSCLKSOURCE_HSI;
  RCC_ClkInitStruct.AHBCLKDivider = RCC_SYSCLK_DIV1;
  RCC_ClkInitStruct.APB1CLKDivider = RCC_HCLK_DIV1;
  RCC_ClkInitStruct.APB2CLKDivider = RCC_HCLK_DIV1;

  if (HAL_RCC_ClockConfig(&RCC_ClkInitStruct, FLASH_LATENCY_0) != HAL_OK)
  {
    Error_Handler();
  }
}

void Error_Handler(void)
{
  __disable_irq();
  while (1)
  {
  }
}
